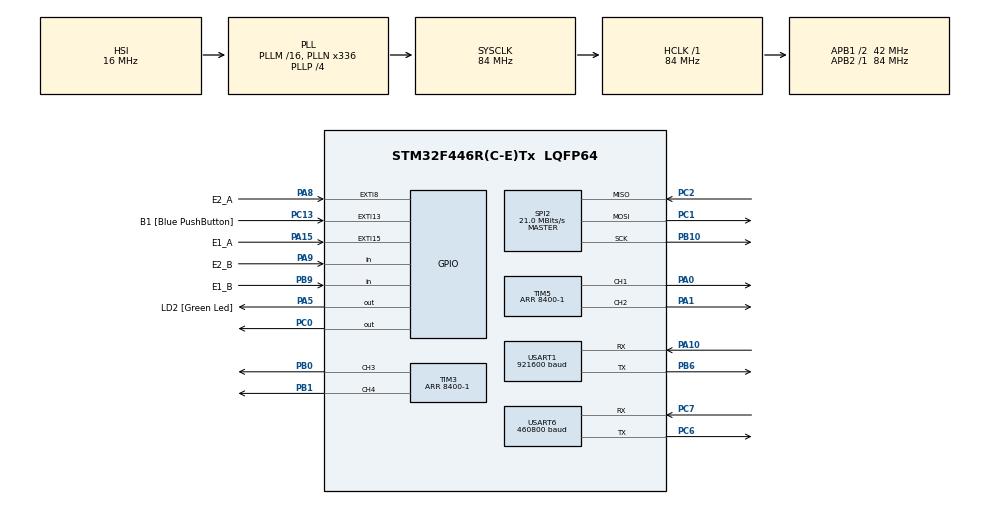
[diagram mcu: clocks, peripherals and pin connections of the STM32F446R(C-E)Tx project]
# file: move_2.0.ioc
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Dma.Request0=USART1_TX
Dma.Request1=USART1_RX
Dma.USART1_RX.1.Direction=DMA_PERIPH_TO_MEMORY
Dma.USART1_RX.1.FIFOMode=DMA_FIFOMODE_DISABLE
Dma.USART1_RX.1.Instance=DMA2_Stream2
Dma.USART1_RX.1.MemDataAlignment=DMA_MDATAALIGN_BYTE
Dma.USART1_RX.1.MemInc=DMA_MINC_ENABLE
Dma.USART1_RX.1.Mode=DMA_CIRCULAR
Dma.USART1_RX.1.PeriphDataAlignment=DMA_PDATAALIGN_BYTE
Dma.USART1_RX.1.PeriphInc=DMA_PINC_DISABLE
Dma.USART1_RX.1.Priority=DMA_PRIORITY_LOW
Dma.USART1_TX.0.Direction=DMA_MEMORY_TO_PERIPH
Dma.USART1_TX.0.FIFOMode=DMA_FIFOMODE_DISABLE
Dma.USART1_TX.0.Instance=DMA2_Stream7
Dma.USART1_TX.0.MemDataAlignment=DMA_MDATAALIGN_BYTE
Dma.USART1_TX.0.MemInc=DMA_MINC_ENABLE
Dma.USART1_TX.0.Mode=DMA_NORMAL
Dma.USART1_TX.0.PeriphDataAlignment=DMA_PDATAALIGN_BYTE
Dma.USART1_TX.0.PeriphInc=DMA_PINC_DISABLE
Dma.USART1_TX.0.Priority=DMA_PRIORITY_LOW
Mcu.Family=STM32F4
Mcu.Name=STM32F446R(C-E)Tx
Mcu.Package=LQFP64
NVIC.DMA2_Stream2_IRQn=true\:0\:0\:false\:false\:true\:false\:true\:true
NVIC.DMA2_Stream7_IRQn=true\:0\:0\:false\:false\:true\:false\:true\:true
NVIC.EXTI15_10_IRQn=true\:1\:2\:true\:false\:true\:true\:true\:true
NVIC.EXTI9_5_IRQn=true\:1\:0\:true\:false\:true\:true\:true\:true
NVIC.PriorityGroup=NVIC_PRIORITYGROUP_2
NVIC.TIM2_IRQn=true\:0\:0\:false\:false\:true\:true\:true\:true
NVIC.TIM4_IRQn=true\:1\:1\:true\:false\:true\:true\:true\:true
NVIC.USART1_IRQn=true\:1\:2\:true\:false\:true\:true\:true\:true
NVIC.USART6_IRQn=true\:0\:0\:true\:false\:true\:true\:true\:true
PA0-WKUP.Signal=S_TIM5_CH1
PA1.Signal=S_TIM5_CH2
PA10.Mode=Asynchronous
PA10.Signal=USART1_RX
PA13.GPIO_Label=TMS
PA13.Mode=Serial_Wire
PA13.Signal=SYS_JTMS-SWDIO
PA14.GPIO_Label=TCK
PA14.Mode=Serial_Wire
PA14.Signal=SYS_JTCK-SWCLK
PA15.GPIO_Label=E1_A
PA15.GPIO_ModeDefaultEXTI=GPIO_MODE_IT_RISING_FALLING
PA15.GPIO_PuPd=GPIO_PULLUP
PA15.Signal=GPXTI15
PA5.GPIO_Label=LD2 [Green Led]
PA5.Signal=GPIO_Output
PA8.GPIO_Label=E2_A
PA8.GPIO_ModeDefaultEXTI=GPIO_MODE_IT_RISING_FALLING
PA8.GPIO_PuPd=GPIO_PULLUP
PA8.Signal=GPXTI8
PA9.GPIO_Label=E2_B
PA9.GPIO_PuPd=GPIO_PULLUP
PA9.Signal=GPIO_Input
PB0.Signal=S_TIM3_CH3
PB1.Signal=S_TIM3_CH4
PB10.Mode=Full_Duplex_Master
PB10.Signal=SPI2_SCK
PB3.GPIO_Label=SWO
PB3.Signal=SYS_JTDO-SWO
PB6.Mode=Asynchronous
PB6.Signal=USART1_TX
PB9.GPIO_Label=E1_B
PB9.GPIO_PuPd=GPIO_PULLUP
PB9.Signal=GPIO_Input
PC0.GPIO_ModeDefaultOutputPP=GPIO_MODE_OUTPUT_PP
PC0.GPIO_Speed=GPIO_SPEED_FREQ_HIGH
PC0.PinState=GPIO_PIN_SET
PC0.Signal=GPIO_Output
PC1.Mode=Full_Duplex_Master
PC1.Signal=SPI2_MOSI
PC13.GPIO_Label=B1 [Blue PushButton]
PC13.GPIO_ModeDefaultEXTI=GPIO_MODE_IT_FALLING
PC13.Signal=GPXTI13
PC14-OSC32_IN.Mode=LSE-External-Oscillator
PC14-OSC32_IN.Signal=RCC_OSC32_IN
PC15-OSC32_OUT.Mode=LSE-External-Oscillator
PC15-OSC32_OUT.Signal=RCC_OSC32_OUT
PC2.Mode=Full_Duplex_Master
PC2.Signal=SPI2_MISO
PC6.Mode=Asynchronous
PC6.Signal=USART6_TX
PC7.Mode=Asynchronous
PC7.Signal=USART6_RX
PH0-OSC_IN.Mode=HSE-External-Oscillator
PH0-OSC_IN.Signal=RCC_OSC_IN
PH1-OSC_OUT.Mode=HSE-External-Oscillator
PH1-OSC_OUT.Signal=RCC_OSC_OUT
ProjectManager.HeapSize=0x200
ProjectManager.StackSize=0x400
ProjectManager.TargetToolchain=MDK-ARM V5
RCC.48MHZClocksFreq_Value=84000000
RCC.AHBFreq_Value=84000000
RCC.APB1CLKDivider=RCC_HCLK_DIV2
RCC.APB1Freq_Value=42000000
RCC.APB1TimFreq_Value=84000000
RCC.APB2Freq_Value=84000000
RCC.APB2TimFreq_Value=84000000
RCC.CortexFreq_Value=84000000
RCC.FLatency-AdvancedSettings=FLASH_LATENCY_2
RCC.HCLKFreq_Value=84000000
RCC.HSE_VALUE=8000000
RCC.HSI_VALUE=16000000
RCC.PLLN=336
RCC.PLLP=RCC_PLLP_DIV4
RCC.SYSCLKFreq_VALUE=84000000
RCC.SYSCLKSource=RCC_SYSCLKSOURCE_PLLCLK
RCC.USBFreq_Value=168000000
RCC.VCOOutputFreq_Value=336000000
SH.S_TIM3_CH3.0=TIM3_CH3,PWM Generation3 CH3
SH.S_TIM3_CH4.0=TIM3_CH4,PWM Generation4 CH4
SH.S_TIM5_CH1.0=TIM5_CH1,PWM Generation1 CH1
SH.S_TIM5_CH2.0=TIM5_CH2,PWM Generation2 CH2
SPI2.CalculateBaudRate=21.0 MBits/s
SPI2.Direction=SPI_DIRECTION_2LINES
SPI2.Mode=SPI_MODE_MASTER
SPI2.VirtualType=VM_MASTER
TIM3.Channel-PWM\ Generation3\ CH3=TIM_CHANNEL_3
TIM3.Channel-PWM\ Generation4\ CH4=TIM_CHANNEL_4
TIM3.Period=8400-1
TIM4.AutoReloadPreload=TIM_AUTORELOAD_PRELOAD_ENABLE
TIM4.Period=999
TIM4.Prescaler=83
TIM4.TIM_MasterOutputTrigger=TIM_TRGO_UPDATE
TIM5.Channel-PWM\ Generation1\ CH1=TIM_CHANNEL_1
TIM5.Channel-PWM\ Generation2\ CH2=TIM_CHANNEL_2
TIM5.Period=8400-1
USART1.BaudRate=921600
USART1.VirtualMode=VM_ASYNC
USART6.BaudRate=460800
USART6.VirtualMode=VM_ASYNC
VP_TIM2_VS_ClockSourceINT.Mode=Internal
VP_TIM3_VS_ClockSourceINT.Mode=Internal
VP_TIM4_VS_ClockSourceINT.Mode=Internal
VP_TIM5_VS_ClockSourceINT.Mode=Internal
board=NUCLEO-F446RE

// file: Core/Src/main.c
/* USER CODE BEGIN Header */
/**
  ******************************************************************************
  * @file           : main.c
  * @brief          : Main program body
  ******************************************************************************
  * @attention
  *
  * Copyright (c) 2025 STMicroelectronics.
  * All rights reserved.
  *
  * This software is licensed under terms that can be found in the LICENSE file
  * in the root directory of this software component.
  * If no LICENSE file comes with this software, it is provided AS-IS.
  *
	此为迷宫小车下位机代码，主要实现两个核心功能：
	1、将传感器数据封装上传
	2、接收速度控制指令并执行运动控制

	 目前已经实现的功能：
		【传感器部分】
		1、雷达驱动+数据读取
		2、编码器数据读取（距离（外部中断）、速度（M法））
		3、imu数据读取（spi）

		【执行器部分】
		1、pid控制（gz环 + 双轮速度环）

		【通信部分】
		1、雷达、编码器、imu数据帧上行（具体数据内容见Frame.h帧结构）
		2、速度控制指令下行

		更新：解决原地低速旋转容易抖动的问题(10.21)
		更新：解决原地低速旋转突然停止会抖动的问题（10.22）

  ******************************************************************************
  */
/* USER CODE END Header */
#include "main.h"
#include "dma.h"
#include "spi.h"
#include "tim.h"
#include "usart.h"
#include "gpio.h"

/* USER CODE BEGIN Includes */
#include "string.h"
#include <stdio.h>
#include <math.h>
#include "encoder.h"
#include "my_systick.h"
#include "rader.h"
#include "mpu6500.h"
#include "pwm.h"
#include "frame.h"
#include "pid.h"
/* USER CODE END Includes */

/* USER CODE BEGIN PV */

//***************************全局变量区***************************//

//*******************传感器*******************//
//编码器
double A_speed = 0, A_speed_last = 0;
double B_speed = 0,	B_speed_last = 0;										//速度计算值
double speed_linear = 0;																//线速度值
double dis_A_latest = 0, dis_A_last = 0; 								//A轮测距结果(mm)，用于速度计算
double dis_B_latest = 0, dis_B_last = 0;								//B轮测距结果(mm)，用于速度计算
uint32_t EA_time_latest = 0, EA_time_last = 0;	//A轮测距时间间隔(ms)
uint32_t EB_time_latest = 0, EB_time_last = 0;  //B轮测距时间间隔(ms)
double dis_A = 0, dis_B = 0;						//测距结果，用于里程计

//IMU模块
float ax, ay, az, gx, gy, gz, temp;			//原始数据
float gz_last;										//偏航角计算，用于gz一阶互补滤波
float yaw_last;										//偏航角计算，用于yaw角限幅滤波，消除累积误差
uint32_t time_latest = 0;					//偏航角计算，用于计算积分dt
uint32_t time_last = 0;
float roll, pitch, yaw;						//欧拉角解析结果（转存变量float）
extern Attitude_t attitude;				//欧拉角解析结果（mpu6500文件）

//雷达模块
extern uint8_t uart4_rx_con;       //接收计数器
extern uint8_t uart4_rx_chksum;      //异或校验
extern uint8_t uart4_rx_buf[100];     //接收缓冲
extern uint8_t uart4_tx_buf[10];     //接收缓冲
extern uint8_t uart4_rx_data;
extern LaserPointTypeDef ax_ls_point[250];	//雷达点云数组（结构体数组，包含角度、距离）
uint8_t time_str[50];

//*******************执行器*******************//
//PID控制器模块
//PID控制器
extern PID_controller A_speed_PID_controller;	//A轮速度PID控制器
extern PID_controller B_speed_PID_controller;	//B轮速度PID控制器
extern PID_controller gz_PID_controller;				//偏航角速度PID控制器
//机械零点（默认初始目标）
extern float Mechanical_zero[];//A轮速度  B轮速度  偏航角速度
//PID参数
extern float A_speed_PID_param[];		//P I D
extern float B_speed_PID_param[];		//P I D
extern float gz_PID_param[];				//P I D
//电机速度控制
int A_pwm_offset = 4000;	//pwm死区
int B_pwm_offset = 4000;
int duty_A = 0, duty_B = 0;
double linear_speed_goal = 0;		//线速度目标值（来自上位机线速度控制指令，由上位机修改）

//*******************通信*******************//
//上行
Frame frame;	//上行数据帧
volatile uint8_t uart1_tx_dma_complete = 1;	// 串口发送模块（蓝牙）：添加DMA发送完成标志
//下行
SpeedCommandFrame speed_frame = {0};		//下行数据帧
float linear_speed_cmd = 0, angular_speed_cmd = 0;
// DMA接收相关变量
uint8_t speed_cmd_dma_buffer[SPEED_CMD_DMA_BUFFER_SIZE];  // DMA接收缓冲区
volatile uint16_t dma_received_len = 0;  // 已接收数据长度
uint16_t last_dma_counter = 0;  // 上一次DMA计数器值
extern DMA_HandleTypeDef hdma_usart1_rx;

/* USER CODE END PV */

void SystemClock_Config(void);

int main(void)
{

  /* MCU Configuration--------------------------------------------------------*/

  /* Reset of all peripherals, Initializes the Flash interface and the Systick. */
  HAL_Init();

  /* Configure the system clock */
  SystemClock_Config();

  /* Initialize all configured peripherals */
  MX_GPIO_Init();
  MX_DMA_Init();
  MX_USART1_UART_Init();
  MX_TIM2_Init();
  MX_TIM3_Init();
  MX_TIM5_Init();
  MX_TIM4_Init();
  MX_USART6_UART_Init();
  MX_SPI2_Init();
  /* USER CODE BEGIN 2 */

	//***************************自定义初始化***************************//

	//*******************传感器初始化*******************//
	//编码器模块（滴答计时器）
	HAL_TIM_Base_Start_IT(&htim2);  // 启动自定义滴答计时器

	//IMU模块
	MPU6500_Init();// IMU初始化

	//雷达模块
	HAL_Delay(500); 	// 等待雷达上电初始化
	AX_LASER_Start();	// 发送请求报文，雷达开始发送应答报文

	//*******************执行器初始化*******************//
	//PWM模块，开启pwm
	HAL_TIM_PWM_Start(&htim5,TIM_CHANNEL_1);
	HAL_TIM_PWM_Start(&htim5,TIM_CHANNEL_2);
	HAL_TIM_PWM_Start(&htim3,TIM_CHANNEL_3);
	HAL_TIM_PWM_Start(&htim3,TIM_CHANNEL_4);

	//PID控制器初始化
	PID_init(&A_speed_PID_controller);
	PID_init(&B_speed_PID_controller);
	PID_init(&gz_PID_controller);

	//*******************通信初始化*******************//
	//上行
	//完成固定数据填充
	frame.header = swap_uint16(FRAME_HEADER);  // 转换为大端序
	frame.point_count = swap_uint16(LASER_DATA_POINTS);
	frame.angle_resolution = swap_float(LASER_ANGLE_RESOLUTION);
	frame.tail = swap_uint16(FRAME_TAIL);
	//下行
	HAL_UART_Receive_DMA(&huart1, speed_cmd_dma_buffer, SPEED_CMD_DMA_BUFFER_SIZE);	// 启动DMA接收
	last_dma_counter = __HAL_DMA_GET_COUNTER(&hdma_usart1_rx);  // 初始计数器值

	//*******************任务调度开启*******************//
	//所有模块准备就绪，开启任务调度定时器
	HAL_TIM_Base_Start_IT(&htim4);

  /* USER CODE END 2 */

  /* Infinite loop */
  /* USER CODE BEGIN WHILE */
  while (1)
  {
//		 if(uart1_tx_dma_complete == 1)	 //DMA空闲
//		{
//			//调试发送
//			char buff[50] ;
//			float i = 40.0;
//			sprintf(buff, "%f, %lf, %lf, %f, %lf\r\n",i, A_speed, B_speed, gz, (A_speed+B_speed)/2);
//			uart1_tx_dma_complete = 0;
//			HAL_UART_Transmit_DMA(&huart1, (uint8_t*)buff, strlen(buff));
//		}

    /* USER CODE END WHILE */

  }
}

void SystemClock_Config(void)
{
  RCC_OscInitTypeDef RCC_OscInitStruct = {0};
  RCC_ClkInitTypeDef RCC_ClkInitStruct = {0};

  /** Configure the main internal regulator output voltage
  */
  __HAL_RCC_PWR_CLK_ENABLE();
  __HAL_PWR_VOLTAGESCALING_CONFIG(PWR_REGULATOR_VOLTAGE_SCALE3);

  /** Initializes the RCC Oscillators according to the specified parameters
  * in the RCC_OscInitTypeDef structure.
  */
  RCC_OscInitStruct.OscillatorType = RCC_OSCILLATORTYPE_HSI;
  RCC_OscInitStruct.HSIState = RCC_HSI_ON;
  RCC_OscInitStruct.HSICalibrationValue = RCC_HSICALIBRATION_DEFAULT;
  RCC_OscInitStruct.PLL.PLLState = RCC_PLL_ON;
  RCC_OscInitStruct.PLL.PLLSource = RCC_PLLSOURCE_HSI;
  RCC_OscInitStruct.PLL.PLLM = 16;
  RCC_OscInitStruct.PLL.PLLN = 336;
  RCC_OscInitStruct.PLL.PLLP = RCC_PLLP_DIV4;
  RCC_OscInitStruct.PLL.PLLQ = 2;
  RCC_OscInitStruct.PLL.PLLR = 2;
  if (HAL_RCC_OscConfig(&RCC_OscInitStruct) != HAL_OK)
  {
    Error_Handler();
  }

  /** Initializes the CPU, AHB and APB buses clocks
  */
  RCC_ClkInitStruct.ClockType = RCC_CLOCKTYPE_HCLK|RCC_CLOCKTYPE_SYSCLK
                              |RCC_CLOCKTYPE_PCLK1|RCC_CLOCKTYPE_PCLK2;
  RCC_ClkInitStruct.SYSCLKSource = RCC_SYSCLKSOURCE_PLLCLK;
  RCC_ClkInitStruct.AHBCLKDivider = RCC_SYSCLK_DIV1;
  RCC_ClkInitStruct.APB1CLKDivider = RCC_HCLK_DIV2;
  RCC_ClkInitStruct.APB2CLKDivider = RCC_HCLK_DIV1;

  if (HAL_RCC_ClockConfig(&RCC_ClkInitStruct, FLASH_LATENCY_2) != HAL_OK)
  {
    Error_Handler();
  }
}

/* USER CODE BEGIN 4 */

//处理DMA接收到的速度指令数据，并更新运动控制目标
void ProcessSpeedCommandDMA(void)
{
    static uint16_t processed_index = 0;  // 已处理数据索引

    // 获取当前DMA计数器值
    uint16_t current_dma_counter = __HAL_DMA_GET_COUNTER(&hdma_usart1_rx);

    // 计算新接收的数据长度
    uint16_t new_data_len = (last_dma_counter >= current_dma_counter) ?
                           (last_dma_counter - current_dma_counter) :															//一个循环内
                           (SPEED_CMD_DMA_BUFFER_SIZE - current_dma_counter + last_dma_counter);	//跨过两个循环

    if (new_data_len > 0) {
        // 处理新接收的数据
        for (uint16_t i = 0; i < new_data_len; i++) {
            uint16_t buffer_index = (processed_index + i) % SPEED_CMD_DMA_BUFFER_SIZE;
            uint8_t received_byte = speed_cmd_dma_buffer[buffer_index];

            // 速度控制指令解析状态机
            static uint8_t speed_cmd_state = 0; // 0:等待帧头1, 1:等待帧头2, 2:接收数据
            static uint8_t speed_cmd_buffer[12]; // 12字节缓冲区
            static uint8_t speed_cmd_index = 0;

            switch(speed_cmd_state) {
                case 0: // 等待帧头第一个字节 0xFF
                    if(received_byte == 0xFF) {
                        speed_cmd_buffer[0] = received_byte;
                        speed_cmd_index = 1;
                        speed_cmd_state = 1;
                    }
                    break;

                case 1: // 等待帧头第二个字节 0x22
                    if(received_byte == 0x22) {
                        speed_cmd_buffer[1] = received_byte;
                        speed_cmd_index = 2;
                        speed_cmd_state = 2;
                    } else {
                        // 如果不是0x22，重新开始搜索帧头
                        speed_cmd_state = 0;
                        speed_cmd_index = 0;
                    }
                    break;

                case 2: // 接收数据部分
                    if(speed_cmd_index < 12) {
                        speed_cmd_buffer[speed_cmd_index] = received_byte;
                        speed_cmd_index++;
                    }

                    // 检查是否接收到完整帧（12字节）
                    if(speed_cmd_index >= 12) {
                        // 验证帧尾
                        if(speed_cmd_buffer[10] == 0x22 && speed_cmd_buffer[11] == 0xEE) {
                            // 解析速度指令
                            SpeedCommandFrame cmd_frame;
                            memcpy(&cmd_frame, speed_cmd_buffer, sizeof(SpeedCommandFrame));
                            angular_speed_cmd = cmd_frame.angular_speed;
                            linear_speed_cmd = cmd_frame.linear_speed;

                            // 更新PID控制器目标
														// 上位机DWA规划器配置限制了线速度指令大于0.05m/s，gz无限制
                            Change_PID_setpoint(&gz_PID_controller, angular_speed_cmd);
                            linear_speed_goal = linear_speed_cmd;

//                            // 调试输出（可选）
//                             char debug_msg[50];
//                             sprintf(debug_msg, "DMA Recv: L=%.3f, A=%.3f\r\n", linear_speed_cmd, angular_speed_cmd);
//                             HAL_UART_Transmit_IT(&huart1, (uint8_t*)debug_msg, strlen(debug_msg));
                        }

                        // 重置状态机，准备接收下一帧
                        speed_cmd_state = 0;
                        speed_cmd_index = 0;
                    }
                    break;
            }
        }

        // 更新已处理索引
        processed_index = (processed_index + new_data_len) % SPEED_CMD_DMA_BUFFER_SIZE;
    }

    // 更新DMA计数器值
    last_dma_counter = current_dma_counter;
}

//*****************************DMA中断**********************************//
// DMA发送完成回调函数
void HAL_UART_TxCpltCallback(UART_HandleTypeDef *huart)
{
    if(huart->Instance == USART1) {
        uart1_tx_dma_complete = 1;  // 清除忙标志
    }
}

// DMA发送错误回调函数
void HAL_UART_ErrorCallback(UART_HandleTypeDef *huart)
{
    if(huart->Instance == USART1) {
        uart1_tx_dma_complete = 1;  // 清除忙标志
    }
}

//*****************************任务调度**********************************//
int count1 = 0;//速度读取分时器
int count2 = 0;//偏航角速度控制分时器
int count3 = 0;//速度控制分时器
void HAL_TIM_PeriodElapsedCallback(TIM_HandleTypeDef *htim)
{
    if (htim == &htim4) // 任务调度计时器
		{
			count1++;//速度读取分时器
			count2++;//偏航角速度控制分时器
			count3++;//速度控制分时器

			////////////////通信(1)：DMA串口接收速度控制指令，并更新运动控制目标（下行）///////////////////////////
      ProcessSpeedCommandDMA();// 新增：处理DMA接收的速度指令数据

			//////////////////////////传感器数据获取(1)：编码器距离//////////////////////////////////////////
			//编码器距离数据获取
			double dis_A = ReadDistance_A();
			double dis_B = ReadDistance_B();

			//////////////////////////传感器数据获取(2)：编码器速度//////////////////////////////////////////
			if(count1 >= 30)	//计算速度（读取频率：50hz，30ms读取一次）
			{
				count1 = 0;	//清空分时器

				//更新上一次
				//A
				EA_time_last = EA_time_latest;//上一次时间
				dis_A_last = dis_A_latest;//上一次距离
				//B
				EB_time_last = EB_time_latest;//上一次时间
				dis_B_last = dis_B_latest;//上一次距离

				//读取当前数据
				dis_B_latest = ReadDistance_B();//当前距离B
				EB_time_latest = HAL_GetTick();//记录测量时间B
				dis_A_latest = ReadDistance_A();//当前距离A
				EA_time_latest = HAL_GetTick();//记录测量时间A

				//计算速度
				A_speed = ((dis_A_latest - dis_A_last) / 1000.0f) / ((EA_time_latest - EA_time_last) / 1000.0f);  // m/s
				B_speed = ((dis_B_latest - dis_B_last) / 1000.0f) / ((EB_time_latest - EB_time_last) / 1000.0f);  // m/s

				//线速度
				speed_linear = (A_speed + B_speed) / 2;	// m/s
			}

			/////////////////////////传感器数据获取(3)：imu//////////////////////////////////////////
			//imu数据获取(占用DMA和总线资源)
			//读取原始数据
			MPU6500_Read_Data_float(&ax, &ay, &az, &gx, &gy, &gz, &temp);
			//更新两次测量的时间窗口
			time_last = time_latest;
			time_latest = HAL_GetTick();//ms
			float dt = (time_latest - time_last) / 1000.f;	//s
			//对原始三轴角速度（gz）处理：处理零偏和抖动问题
			gz = gz +0.5;
			if(gz <= 1.4 && gz >= -1.4) gz = 0;
			gz = gz_last*0.3 + gz*0.7;
			gz_last = gz;
			//更新偏航角
			Yaw_Update(gz, yaw_last, dt);
			//覆盖变量
			roll = attitude.roll;		//保持初始值0
			pitch = attitude.pitch;	//保持初始值0
			yaw = attitude.yaw;			//积分处理

			static uint8_t speed_pid_enable = 1;	//是否允许速度pid控制
			static double gz_setpoint_last = 0;	//记录上一次的gz目标值
			static int stable_cnt = 0;
			//////////////////////////运动控制(1)：偏航角速度控制//////////////////////////////////////////
			if(count2 >= 10)	//偏航角速度控制
			{
				count2 = 0;	//清空分时器

				// 特殊情况处理：线速度为0，原地旋转的时候，为了避免gz过低引起震荡，使用统一轮速控制(原地低速旋转 开环)
				if(linear_speed_goal == 0 && (gz_PID_controller.setpoint > 0 && gz_PID_controller.setpoint < 80))	//逆时针转
				{
					speed_pid_enable = 0;	//关闭速度环

					Set_PWM_A(4500, 0);	//A轮正转，B轮反转
					Set_PWM_B(4500, 0);

					gz_setpoint_last = gz_PID_controller.setpoint;
				}
				else if(linear_speed_goal == 0 && (gz_PID_controller.setpoint < 0 && gz_PID_controller.setpoint > -80))	//顺时针转
				{
					speed_pid_enable = 0;	//关闭速度环

					Set_PWM_A(0, 4500);	//A轮反转，B轮正转
					Set_PWM_B(0, 4500);

					gz_setpoint_last = gz_PID_controller.setpoint;
				}
				else if(linear_speed_goal == 0 && (gz_PID_controller.setpoint == 0 && gz_setpoint_last != 0))		//从原地旋转切换到停止
				{
					speed_pid_enable = 0;

					Set_PWM_A(0, 0);
					Set_PWM_B(0, 0);

					gz_setpoint_last = gz_PID_controller.setpoint;
				}
				else	// 回归一般情况
				{
					if(gz_setpoint_last == 0)	//刚从原地旋转切换到停止，稳定一下
					{
						stable_cnt++;

						if(stable_cnt > 5)
						{
							stable_cnt = 0;
							gz_setpoint_last = -1;
						}
					}
					else
					{
						speed_pid_enable = 1;	//开启速度环

						double delta = PID_increment(&gz_PID_controller, gz);//计算速度偏差量

						Change_PID_setpoint(&A_speed_PID_controller, linear_speed_goal - delta);
						Change_PID_setpoint(&B_speed_PID_controller, linear_speed_goal + delta);
					}

				}
			}
			//////////////////////////运动控制(2)：A、B电机速度控制//////////////////////////////////////////
			if(count3 >= 20 && speed_pid_enable)	//A、B轮速度控制
			{
				count3 = 0;	//清空分时器

				//正转
				if(A_speed_PID_controller.setpoint > 0.03)
				{
					duty_A = (int)PID_increment(&A_speed_PID_controller, A_speed);//A轮速度控制计算
					Set_PWM_A(A_pwm_offset + duty_A, 0);//执行速度控制
				}
				if(B_speed_PID_controller.setpoint > 0.03)
				{
					duty_B = (int)PID_increment(&B_speed_PID_controller, B_speed);//B轮速度控制计算
					Set_PWM_B(0, B_pwm_offset + duty_B);//执行速度控制
				}

				//反转
				if(A_speed_PID_controller.setpoint < -0.03)
				{
					duty_A = (int)PID_increment(&A_speed_PID_controller, A_speed);//A轮速度控制计算
					Set_PWM_A(0,A_pwm_offset - duty_A);//执行速度控制
				}
				if(B_speed_PID_controller.setpoint < -0.03)
				{
					duty_B = (int)PID_increment(&B_speed_PID_controller, B_speed);//B轮速度控制计算
					Set_PWM_B(B_pwm_offset - duty_B, 0);//执行速度控制
				}
				//停止
				if(fabs(A_speed_PID_controller.setpoint) <= 0.03)
				{
					Set_PWM_A(0,0);
				}
				if(fabs(B_speed_PID_controller.setpoint) <= 0.03)
				{
					Set_PWM_B(0,0);
				}
			}

			////////////////通信(2)：DMA串口发送imu、编码器、雷达数据帧到上位机（上行）///////////////////////////
      if(uart1_tx_dma_complete == 1)	 //DMA空闲
			{
				////装载数据帧

				uint16_t calc_checksum = 0;	//校验和

				//装载IMU数据帧
				frame.imu_raw_data[0] = swap_float(ax);		//原始数据，转换为大端字节序
				frame.imu_raw_data[1] = swap_float(ay);
				frame.imu_raw_data[2] = swap_float(az);
				frame.imu_raw_data[3] = swap_float(gx);
				frame.imu_raw_data[4] = swap_float(gy);
				frame.imu_raw_data[5] = swap_float(gz);

				frame.imu_rpy_data[0] = swap_float(roll);	//欧拉角数据，转换为大端字节序
				frame.imu_rpy_data[1] = swap_float(pitch);
				frame.imu_rpy_data[2] = swap_float(yaw);

				for(int i = 0; i < IMU_RAW_DATA_LENGTH; i++)	//计算原始数据校验和
				{
					calc_checksum += (uint16_t)(frame.imu_raw_data[i] * 100);	//浮点数特殊处理
				}
				for(int i = 0; i < IMU_RPY_DATA_LENGTH; i++)	//计算欧拉角数据校验和
				{
					calc_checksum += (uint16_t)(frame.imu_rpy_data[i] * 100);	//浮点数特殊处理
				}

				//装载编码器距离数据帧
				frame.wheelA_dis = swap_double(dis_A);	//转换为大端字节序
				frame.wheelB_dis = swap_double(dis_B);

				calc_checksum += (uint16_t)(frame.wheelA_dis * 100);	//计算校验和
				calc_checksum += (uint16_t)(frame.wheelB_dis * 100);

				//装载线速度数据帧
				frame.speed_linear = swap_double(speed_linear);	//转换为大端字节序
				calc_checksum += (uint16_t)(frame.speed_linear * 100);	//计算校验和

				//装载雷达数据帧
				LaserPointTypeDef temp_points[250];	// 复制雷达数据到临时数组，避免数据竞争
				__disable_irq();// 短暂禁用中断确保数据一致性
				memcpy(temp_points, ax_ls_point, sizeof(ax_ls_point));
				__enable_irq();

				for(int i = 0; i < LASER_DATA_POINTS - 1; i++) // 雷达数据按角度从大到小排序（适应ROS标准：默认雷达逆时针扫描）
				{
						for(int j = 0; j < LASER_DATA_POINTS - i - 1; j++)
						{
							if(temp_points[j].angle < temp_points[j+1].angle)
								{
										// 交换两个点的位置
										LaserPointTypeDef temp = temp_points[j];
										temp_points[j] = temp_points[j+1];
										temp_points[j+1] = temp;
								}
						}
				}

				for(int i = 0; i < LASER_DATA_POINTS; i++) // 填充雷达距离数据 并计算校验和
				{
						frame.distances[i] = swap_uint16(temp_points[i].distance);  // 转换为大端序
						calc_checksum += frame.distances[i];			//计算校验和
				}

//        // 添加其他字段到校验和
//        calc_checksum += laser_frame.point_count;
//        calc_checksum += (uint16_t)(laser_frame.angle_resolution * 100); // 将浮点数转换为整数参与校验

				//装载校验和
				frame.checksum = swap_uint16(calc_checksum);  // 转换为大端序

				////发送数据帧
				uart1_tx_dma_complete = 0;// 设置发送完成标志为0（正在发送）
				HAL_UART_Transmit_DMA(&huart1, (uint8_t*)&frame, sizeof(Frame));	// 使用DMA发送二进制数据帧
			}

		}
}

void HAL_UART_RxCpltCallback(UART_HandleTypeDef *huart)
{
	/////////////////////////传感器数据获取(4)：雷达//////////////////////////////////////////
	// 雷达数据接收区(8ms发一帧数据)
	if (huart->Instance == USART6)
    {
        uint8_t Res = uart4_rx_data;
        uint8_t temp;

        if (uart4_rx_con < 3)
        {
            if(uart4_rx_con == 0)  //接收帧头1
            {
                //判断帧头1
                if((Res>>4) == LS_HEADER1)
                {
                    uart4_rx_buf[uart4_rx_con] = Res;
                    uart4_rx_con = 1;
                }
            }
            else if(uart4_rx_con == 1) //接收帧头2
            {
                //判断帧头2
                if((Res>>4) == LS_HEADER2)
                {
                    uart4_rx_buf[uart4_rx_con] = Res;
                    uart4_rx_con = 2;
                }
                else
                {
                    uart4_rx_con = 0;
                }
            }
            else  //接收第一个数据
            {
                uart4_rx_buf[uart4_rx_con] = Res;
                uart4_rx_con = 3;

                //赋值校验
                uart4_rx_chksum = Res;
            }
        }
        else  //接收数据
        {
            //判断是否接收完
            if(uart4_rx_con < (LS_F_LEN-1))
            {
                uart4_rx_buf[uart4_rx_con] = Res;
                uart4_rx_con++;
                uart4_rx_chksum = uart4_rx_chksum^Res;
            }
            else
            {
                //接收最后一个数据
                uart4_rx_buf[uart4_rx_con] = Res;
                uart4_rx_chksum = uart4_rx_chksum^Res;

                //复位
                uart4_rx_con = 0;

                //计算传输的校验数据
                temp = ((uint8_t)(uart4_rx_buf[1]<<4)) + (uint8_t)(uart4_rx_buf[0]&0x0F);

                //判断校验是否正确
                if( uart4_rx_chksum == temp)
                {
                    //接收完毕，进行帧数据处理
                    LS_DataHandle();
                }
            }
        }
				//开启下一次接收中断
        HAL_UART_Receive_IT(&huart6, &uart4_rx_data, 1);
    }

}
/* USER CODE END 4 */

void Error_Handler(void)
{
  __disable_irq();
  while (1)
  {
  }
}
